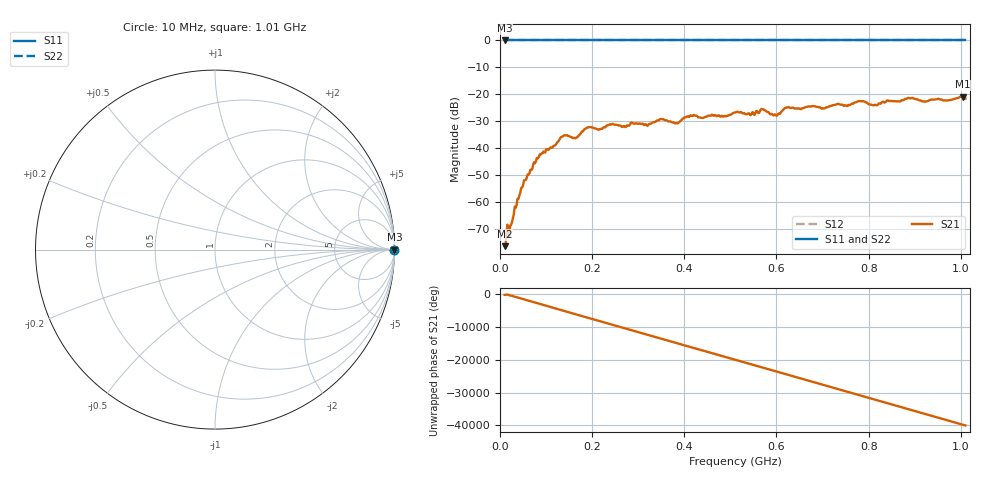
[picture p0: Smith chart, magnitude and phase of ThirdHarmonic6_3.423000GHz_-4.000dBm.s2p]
! 8/17/2025 10:59:16 AM
! C:\ANRITSUVNA\TEMP\TEMP.S2P
! CHANNEL.1
! TR.MEASUREMENT
! RAW.DATA
! RF.CORRECTION.OFF
! AVERAGING.OFF
! IF.BANDWIDTH: 5KHZ
! SWEEPTYPE:  FREQ.SWEEP(Linear)
! Reference Plane Port Info
! PORT:  PORT1  PORT2
! DISTANCE:  0  m  0  m
! TIME:  0  s  0  s
! PHASE.OFFSET:  0  deg.  0  deg.
! LOSS:  0  dB  0  dB
! REF.LOSS:  0  dB  0  dB
! REF.FREQ:  0  Hz  0  Hz
! Power Info
! POWER:  -20  dBm  -20  dBm
! EFF.POWER:  -20  dBm  -20  dBm
! SOURCE.ATTEN:  0  dB  0  dB
! TEST.ATTEN:  0  dB  0  dB
# GHZ S RI R 50.0
! FREQ.GHZ  S11RE  S11IM  S21RE  S21IM  S12RE  S12IM  S22RE  S22IM
!; PortSelection: Port_12
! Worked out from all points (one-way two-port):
!   501 points, 10 MHz to 1.01 GHz, reference 50 ohm
!   highest |S21| = -20.87 dB at 1.004 GHz (marker M1); lowest = -76.3 dB at 10 MHz (marker M2)
!   lowest |S11| = 0.0 dB at 10 MHz (marker M3)
!   |S11| at or under -10 dB: nowhere
!   |S22| runs from 0.0 to 0.0 dB; largest |S21 - S12| = 1.1
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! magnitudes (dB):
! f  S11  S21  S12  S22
! 10 MHz  0.0  -76.3  0.0  0.0
! 50 MHz  0.0  -53.8  0.0  0.0
! 76 MHz  0.0  -45.6  0.0  0.0
! 136 MHz  0.0  -35.6  0.0  0.0
! 162 MHz  0.0  -36.1  0.0  0.0
! 178 MHz  0.0  -33.7  0.0  0.0
! 194 MHz  0.0  -32.1  0.0  0.0
! 318 MHz  0.0  -31.3  0.0  0.0
! 344 MHz  0.0  -29.6  0.0  0.0
! 384 MHz  0.0  -30.7  0.0  0.0
! 416 MHz  0.0  -28.0  0.0  0.0
! 510 MHz  0.0  -26.7  0.0  0.0
! 548 MHz  0.0  -26.6  0.0  0.0
! 570 MHz  0.0  -25.5  0.0  0.0
! 598 MHz  0.0  -27.6  0.0  0.0
! 622 MHz  0.0  -24.9  0.0  0.0
! 678 MHz  0.0  -24.4  0.0  0.0
! 782 MHz  0.0  -22.5  0.0  0.0
! 814 MHz  0.0  -23.8  0.0  0.0
! 844 MHz  0.0  -22.4  0.0  0.0
! 1.004 GHz  0.0  -20.9  0.0  0.0
! 1.01 GHz  0.0  -21.5  0.0  0.0
